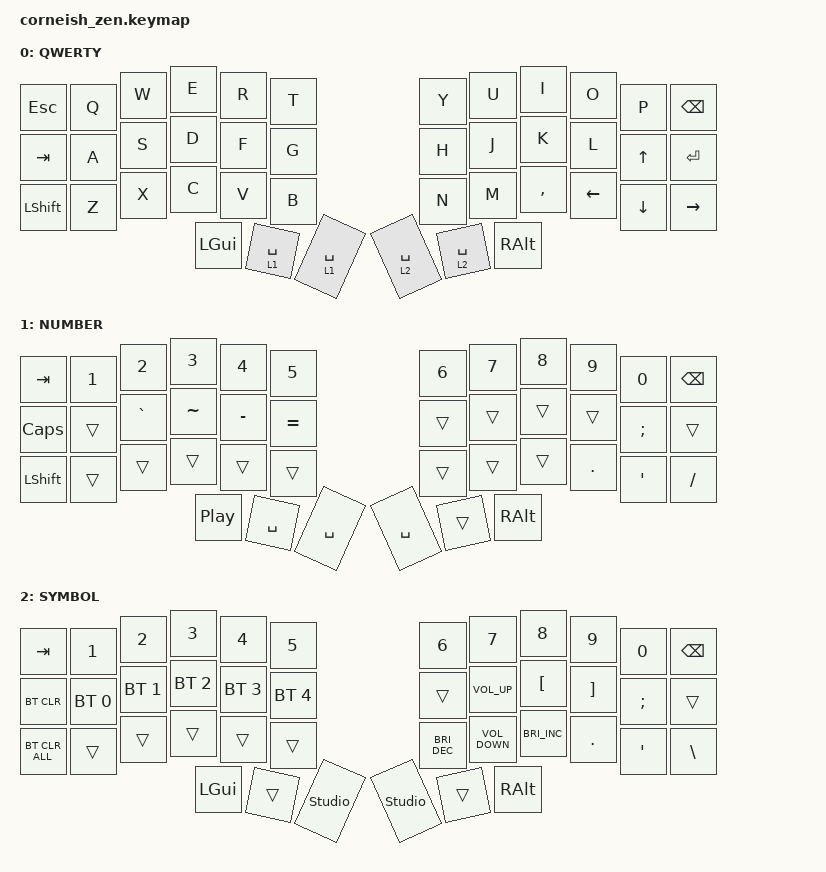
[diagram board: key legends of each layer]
/*
*
* Copyright (c) 2021 Darryl deHaan
* SPDX-License-Identifier: MIT
*
*/

#include <behaviors.dtsi>
#include <dt-bindings/zmk/keys.h>
#include <dt-bindings/zmk/bt.h>

/ {
    keymap {
        compatible = "zmk,keymap";

        default_layer {
            display-name = "QWERTY";
// --------------------------------------------------------------------------------
// |  ESC |  Q  |  W  |  E  |  R  |  T  |   |  Y  |  U   |  I  |  O  |  P  | BKSP |
// |  TAB |  A  |  S  |  D  |  F  |  G  |   |  H  |  J   |  K  |  L  |  ↑  | ENTER|
// | SHFT |  Z  |  X  |  C  |  V  |  B  |   |  N  |  M   |  ,  |  ←  |  ↓  |   →  |
//                    | GUI |SPC 1|SPC 1|   |SPC 2|SPC  2| ALT |
            bindings = <
&kp ESC     &kp Q       &kp W       &kp E &kp R &kp T   &kp Y &kp U  &kp I     &kp O   &kp P    &kp BSPC
&kp TAB     &kp A       &kp S       &kp D &kp F &kp G   &kp H &kp J  &kp K     &kp L   &kp UP &kp ENTER
&kp LSHFT   &kp Z       &kp X       &kp C &kp V &kp B   &kp N &kp M  &kp COMMA &kp LEFT &kp DOWN &kp RIGHT
                        &kp LGUI &lt 1 SPACE &lt 1 SPACE   &lt 2 SPACE &lt 2 SPACE &kp RALT
            >;
        };

        lower_layer {
            display-name = "NUMBER";
// -----------------------------------------------------------------------------------------
// |  TAB |  1  |  2  |  3  |  4  |  5  |   |  6  |  7  |  8  |  9  |  0  | BKSP |
// | CAPS |     |  `  |  ~  |  -  |  =  |   |     |     |     |     |  ;  |      |
// | SHFT |     |     |     |     |     |   |     |     |     |  .  |  '  |  /   |
//                    | PLAY| SPC | SPC |   | SPC |     | ALT |
            bindings = <
&kp TAB    &kp N1      &kp N2      &kp N3       &kp N4      &kp N5        &kp N6     &kp N7   &kp N8      &kp N9     &kp N0    &kp BSPC
&kp CAPS   &trans      &kp GRAVE   &kp TILDE    &kp MINUS   &kp EQUAL     &trans     &trans   &trans      &trans     &kp SEMI  &trans
&kp LSHFT  &trans      &trans      &trans       &trans      &trans        &trans     &trans   &trans      &kp DOT    &kp SQT   &kp SLASH
                               &kp C_PLAY_PAUSE   &kp SPACE  &kp SPACE     &kp SPACE  &trans   &kp RALT
            >;
        };

        raise_layer {
            display-name = "SYMBOL";
// -----------------------------------------------------------------------------------------
// |  TAB |  1  |  2  |  3  |  4  |  5  |   |  6  |  7  |  8  |  9  |  0  | BKSP |
// |BTCLR | BT1 | BT2 | BT3 | BT4 | BT5 |   |     |VOLUP|  [  |  ]  |  ;  |      |
// |BTCLRA|     |     |     |     |     |   |ScBRD|VOLDN|ScBRI|  .  |  '  |  \   |
//                    | GUI |     | STU |   | STU |     | ALT |
            bindings = <
&kp TAB    &kp N1       &kp N2       &kp N3       &kp N4       &kp N5        &kp N6     &kp N7      &kp N8       &kp N9      &kp N0      &kp BSPC
&bt BT_CLR  &bt BT_SEL 0 &bt BT_SEL 1 &bt BT_SEL 2 &bt BT_SEL 3 &bt BT_SEL 4  &trans     &kp C_VOLUME_UP &kp LBKT &kp RBKT    &kp SEMI    &trans
&bt BT_CLR_ALL  &trans       &trans       &trans       &trans       &trans        &kp C_BRIGHTNESS_DEC &kp C_VOLUME_DOWN &kp C_BRIGHTNESS_INC &kp DOT    &kp SQT   &kp BSLH
                        &kp LGUI &trans   &studio_unlock   &studio_unlock   &trans    &kp RALT
            >;
        };
    };
};
